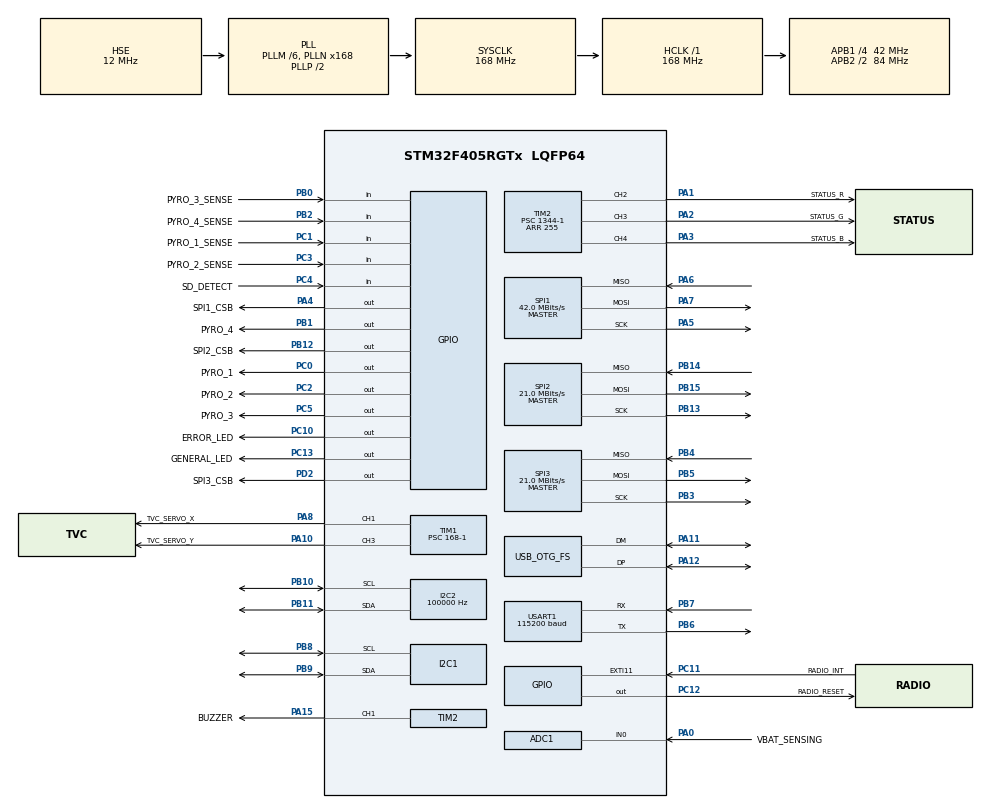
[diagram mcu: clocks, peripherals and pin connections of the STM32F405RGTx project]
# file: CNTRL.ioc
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ADC1.Channel-0\#ChannelRegularConversion=ADC_CHANNEL_0
ADC1.Channel-1\#ChannelRegularConversion=ADC_CHANNEL_VREFINT
ADC1.ContinuousConvMode=ENABLE
ADC1.DMAContinuousRequests=ENABLE
ADC1.NbrOfConversion=2
ADC1.NbrOfConversionFlag=1
ADC1.Rank-0\#ChannelRegularConversion=1
ADC1.Rank-1\#ChannelRegularConversion=2
ADC1.SamplingTime-0\#ChannelRegularConversion=ADC_SAMPLETIME_480CYCLES
ADC1.SamplingTime-1\#ChannelRegularConversion=ADC_SAMPLETIME_480CYCLES
ADC1.master=1
Dma.ADC1.1.Direction=DMA_PERIPH_TO_MEMORY
Dma.ADC1.1.FIFOMode=DMA_FIFOMODE_DISABLE
Dma.ADC1.1.Instance=DMA2_Stream0
Dma.ADC1.1.MemDataAlignment=DMA_MDATAALIGN_HALFWORD
Dma.ADC1.1.MemInc=DMA_MINC_ENABLE
Dma.ADC1.1.Mode=DMA_CIRCULAR
Dma.ADC1.1.PeriphDataAlignment=DMA_PDATAALIGN_HALFWORD
Dma.ADC1.1.PeriphInc=DMA_PINC_DISABLE
Dma.ADC1.1.Priority=DMA_PRIORITY_LOW
Dma.Request0=USART1_RX
Dma.Request1=ADC1
Dma.USART1_RX.0.Direction=DMA_PERIPH_TO_MEMORY
Dma.USART1_RX.0.FIFOMode=DMA_FIFOMODE_DISABLE
Dma.USART1_RX.0.Instance=DMA2_Stream2
Dma.USART1_RX.0.MemDataAlignment=DMA_MDATAALIGN_BYTE
Dma.USART1_RX.0.MemInc=DMA_MINC_ENABLE
Dma.USART1_RX.0.Mode=DMA_CIRCULAR
Dma.USART1_RX.0.PeriphDataAlignment=DMA_PDATAALIGN_BYTE
Dma.USART1_RX.0.PeriphInc=DMA_PINC_DISABLE
Dma.USART1_RX.0.Priority=DMA_PRIORITY_HIGH
FATFS._MAX_SS=4096
FATFS._USE_LFN=1
I2C1.OwnAddress=0x20
I2C2.ClockSpeed=100000
I2C2.OwnAddress=0x28
Mcu.Family=STM32F4
Mcu.Name=STM32F405RGTx
Mcu.Package=LQFP64
NVIC.DMA2_Stream0_IRQn=true\:0\:0\:false\:false\:true\:false\:true\:true
NVIC.DMA2_Stream2_IRQn=true\:0\:0\:false\:false\:true\:false\:true\:true
NVIC.I2C1_EV_IRQn=true\:0\:0\:false\:false\:true\:true\:true\:true
NVIC.I2C2_ER_IRQn=true\:0\:0\:false\:false\:true\:true\:true\:true
NVIC.I2C2_EV_IRQn=true\:0\:0\:false\:false\:true\:true\:true\:true
NVIC.OTG_FS_IRQn=true\:0\:0\:false\:false\:true\:false\:true\:true
NVIC.PriorityGroup=NVIC_PRIORITYGROUP_4
NVIC.TIM6_DAC_IRQn=true\:0\:0\:false\:false\:true\:true\:true\:true
NVIC.TIM7_IRQn=true\:0\:0\:false\:false\:true\:true\:true\:true
NVIC.USART1_IRQn=true\:0\:0\:false\:false\:true\:true\:true\:true
PA0-WKUP.GPIO_Label=VBAT_SENSING
PA0-WKUP.Signal=ADCx_IN0
PA1.GPIO_Label=STATUS_R
PA1.Signal=S_TIM2_CH2
PA10.GPIO_Label=TVC_SERVO_Y
PA10.Signal=S_TIM1_CH3
PA11.Mode=Device_Only
PA11.Signal=USB_OTG_FS_DM
PA12.Mode=Device_Only
PA12.Signal=USB_OTG_FS_DP
PA13.Mode=Serial_Wire
PA13.Signal=SYS_JTMS-SWDIO
PA14.Mode=Serial_Wire
PA14.Signal=SYS_JTCK-SWCLK
PA15.GPIO_Label=BUZZER
PA15.Signal=S_TIM2_CH1_ETR
PA2.GPIO_Label=STATUS_G
PA2.Signal=S_TIM2_CH3
PA3.GPIO_Label=STATUS_B
PA3.Signal=S_TIM2_CH4
PA4.GPIO_Label=SPI1_CSB
PA4.GPIO_ModeDefaultOutputPP=GPIO_MODE_OUTPUT_OD
PA4.GPIO_PuPd=GPIO_NOPULL
PA4.Signal=GPIO_Output
PA5.Mode=Full_Duplex_Master
PA5.Signal=SPI1_SCK
PA6.Mode=Full_Duplex_Master
PA6.Signal=SPI1_MISO
PA7.Mode=Full_Duplex_Master
PA7.Signal=SPI1_MOSI
PA8.GPIO_Label=TVC_SERVO_X
PA8.Signal=S_TIM1_CH1
PB0.GPIO_Label=PYRO_3_SENSE
PB0.Signal=GPIO_Input
PB1.GPIO_Label=PYRO_4
PB1.Signal=GPIO_Output
PB10.Mode=I2C
PB10.Signal=I2C2_SCL
PB11.Mode=I2C
PB11.Signal=I2C2_SDA
PB12.GPIO_Label=SPI2_CSB
PB12.GPIO_ModeDefaultOutputPP=GPIO_MODE_OUTPUT_PP
PB12.GPIO_PuPd=GPIO_NOPULL
PB12.Signal=GPIO_Output
PB13.Mode=Full_Duplex_Master
PB13.Signal=SPI2_SCK
PB14.Mode=Full_Duplex_Master
PB14.Signal=SPI2_MISO
PB15.Mode=Full_Duplex_Master
PB15.Signal=SPI2_MOSI
PB2.GPIO_Label=PYRO_4_SENSE
PB2.Signal=GPIO_Input
PB3.Mode=Full_Duplex_Master
PB3.Signal=SPI3_SCK
PB4.Mode=Full_Duplex_Master
PB4.Signal=SPI3_MISO
PB5.Mode=Full_Duplex_Master
PB5.Signal=SPI3_MOSI
PB6.Mode=Asynchronous
PB6.Signal=USART1_TX
PB7.Mode=Asynchronous
PB7.Signal=USART1_RX
PB8.Mode=I2C
PB8.Signal=I2C1_SCL
PB9.Mode=I2C
PB9.Signal=I2C1_SDA
PC0.GPIO_Label=PYRO_1
PC0.Signal=GPIO_Output
PC1.GPIO_Label=PYRO_1_SENSE
PC1.Signal=GPIO_Input
PC10.GPIO_Label=ERROR_LED
PC10.Signal=GPIO_Output
PC11.GPIO_Label=RADIO_INT
PC11.Signal=GPXTI11
PC12.GPIO_Label=RADIO_RESET
PC12.Signal=GPIO_Output
PC13-ANTI_TAMP.GPIO_Label=GENERAL_LED
PC13-ANTI_TAMP.Signal=GPIO_Output
PC14-OSC32_IN.Mode=LSE-External-Oscillator
PC14-OSC32_IN.Signal=RCC_OSC32_IN
PC15-OSC32_OUT.Mode=LSE-External-Oscillator
PC15-OSC32_OUT.Signal=RCC_OSC32_OUT
PC2.GPIO_Label=PYRO_2
PC2.Signal=GPIO_Output
PC3.GPIO_Label=PYRO_2_SENSE
PC3.Signal=GPIO_Input
PC4.GPIO_Label=SD_DETECT
PC4.Signal=GPIO_Input
PC5.GPIO_Label=PYRO_3
PC5.Signal=GPIO_Output
PD2.GPIO_Label=SPI3_CSB
PD2.Signal=GPIO_Output
PH0-OSC_IN.Mode=HSE-External-Oscillator
PH0-OSC_IN.Signal=RCC_OSC_IN
PH1-OSC_OUT.Mode=HSE-External-Oscillator
PH1-OSC_OUT.Signal=RCC_OSC_OUT
ProjectManager.HeapSize=0x200
ProjectManager.StackSize=0x400
ProjectManager.TargetToolchain=STM32CubeIDE
RCC.48MHZClocksFreq_Value=48000000
RCC.AHBFreq_Value=168000000
RCC.APB1CLKDivider=RCC_HCLK_DIV4
RCC.APB1Freq_Value=42000000
RCC.APB1TimFreq_Value=84000000
RCC.APB2CLKDivider=RCC_HCLK_DIV2
RCC.APB2Freq_Value=84000000
RCC.APB2TimFreq_Value=168000000
RCC.CortexFreq_Value=168000000
RCC.HCLKFreq_Value=168000000
RCC.HSE_VALUE=12000000
RCC.HSI_VALUE=16000000
RCC.PLLM=6
RCC.PLLN=168
RCC.PLLQ=7
RCC.SYSCLKFreq_VALUE=168000000
RCC.SYSCLKSource=RCC_SYSCLKSOURCE_PLLCLK
RCC.VCOOutputFreq_Value=336000000
SH.ADCx_IN0.0=ADC1_IN0,IN0
SH.S_TIM1_CH1.0=TIM1_CH1,PWM Generation1 CH1
SH.S_TIM1_CH3.0=TIM1_CH3,PWM Generation3 CH3
SH.S_TIM2_CH1_ETR.0=TIM2_CH1,PWM Generation1 CH1
SH.S_TIM2_CH2.0=TIM2_CH2,PWM Generation2 CH2
SH.S_TIM2_CH3.0=TIM2_CH3,PWM Generation3 CH3
SH.S_TIM2_CH4.0=TIM2_CH4,PWM Generation4 CH4
SPI1.BaudRatePrescaler=SPI_BAUDRATEPRESCALER_2
SPI1.CalculateBaudRate=42.0 MBits/s
SPI1.Direction=SPI_DIRECTION_2LINES
SPI1.Mode=SPI_MODE_MASTER
SPI1.VirtualType=VM_MASTER
SPI2.BaudRatePrescaler=SPI_BAUDRATEPRESCALER_2
SPI2.CalculateBaudRate=21.0 MBits/s
SPI2.Direction=SPI_DIRECTION_2LINES
SPI2.Mode=SPI_MODE_MASTER
SPI2.VirtualType=VM_MASTER
SPI3.CalculateBaudRate=21.0 MBits/s
SPI3.Direction=SPI_DIRECTION_2LINES
SPI3.Mode=SPI_MODE_MASTER
SPI3.VirtualType=VM_MASTER
STMicroelectronics.X-CUBE-MEMS1.11.2.0.SensorsJjSTM32IiMotionACIiLibraryJjCore=true
STMicroelectronics.X-CUBE-MEMS1.11.2.0.SensorsJjSTM32IiMotionGCIiLibraryJjCore=true
STMicroelectronics.X-CUBE-MEMS1.11.2.0.SensorsJjSTM32IiMotionMCIiLibraryJjCore=true
TIM1.Channel-PWM\ Generation1\ CH1=TIM_CHANNEL_1
TIM1.Channel-PWM\ Generation3\ CH3=TIM_CHANNEL_3
TIM1.Period=20000-1
TIM1.Prescaler=168-1
TIM2.AutoReloadPreload=TIM_AUTORELOAD_PRELOAD_ENABLE
TIM2.Channel-PWM\ Generation1\ CH1=TIM_CHANNEL_1
TIM2.Channel-PWM\ Generation2\ CH2=TIM_CHANNEL_2
TIM2.Channel-PWM\ Generation3\ CH3=TIM_CHANNEL_3
TIM2.Channel-PWM\ Generation4\ CH4=TIM_CHANNEL_4
TIM2.Period=255
TIM2.Prescaler=1344-1
TIM6.Period=1000-1
TIM6.Prescaler=84-1
TIM7.Period=50000-1
TIM7.Prescaler=84-1
USART1.BaudRate=115200
USART1.VirtualMode=VM_ASYNC
USB_DEVICE.CLASS_NAME_FS=CDC
USB_DEVICE.VirtualMode-CDC_FS=Cdc
USB_DEVICE.VirtualModeFS=Cdc_FS
USB_OTG_FS.VirtualMode=Device_Only
VP_ADC1_Vref_Input.Mode=IN-Vrefint
VP_CRC_VS_CRC.Mode=CRC_Activate
VP_FATFS_VS_Generic.Mode=User_defined
VP_STMicroelectronics.X-CUBE-MEMS1_VS_SensorsJjSTM32IiMotionACIiLibrary_2.6.2_11.2.0.Mode=SensorsJjSTM32IiMotionACIiLibrary
VP_STMicroelectronics.X-CUBE-MEMS1_VS_SensorsJjSTM32IiMotionGCIiLibrary_2.7.0_11.2.0.Mode=SensorsJjSTM32IiMotionGCIiLibrary
VP_STMicroelectronics.X-CUBE-MEMS1_VS_SensorsJjSTM32IiMotionMCIiLibrary_2.8.0_11.2.0.Mode=SensorsJjSTM32IiMotionMCIiLibrary
VP_TIM1_VS_ClockSourceINT.Mode=Internal
VP_TIM2_VS_ClockSourceINT.Mode=Internal
VP_TIM6_VS_ClockSourceINT.Mode=Enable_Timer
VP_TIM7_VS_ClockSourceINT.Mode=Enable_Timer
VP_USB_DEVICE_VS_USB_DEVICE_CDC_FS.Mode=CDC_FS
board=custom

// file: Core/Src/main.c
/* USER CODE BEGIN Header */
/**
  ******************************************************************************
  * @file           : main.c
  * @brief          : Main program body
  ******************************************************************************
  * @attention
  *
  * Copyright (c) 2025 STMicroelectronics.
  * All rights reserved.
  *
  * This software is licensed under terms that can be found in the LICENSE file
  * in the root directory of this software component.
  * If no LICENSE file comes with this software, it is provided AS-IS.
  *
  ******************************************************************************
  */
/* USER CODE END Header */
#include "main.h"
#include "fatfs.h"
#include "usb_device.h"

/* USER CODE BEGIN Includes */
#include "config.h"
#include "util.h"

#include "usbd_cdc_if.h"

#include "Drivers/pwm.h"
#include "Drivers/led.h"
#include "Drivers/servo.h"
#include "Drivers/pyro.h"
#include "Drivers/w25qxx.h"
#include "Drivers/buzzer.h"

#include "uart_dma.h"
#include "logger.h"
#include "calibration.h"
#include "orientation.h"
#include "tvc.h"
#include "control.h"
#include "battery.h"
#include "esp32.h"
#include "flight.h"
/* USER CODE END Includes */

ADC_HandleTypeDef hadc1;
DMA_HandleTypeDef hdma_adc1;

CRC_HandleTypeDef hcrc;

I2C_HandleTypeDef hi2c1;
I2C_HandleTypeDef hi2c2;

SPI_HandleTypeDef hspi1;
SPI_HandleTypeDef hspi2;
SPI_HandleTypeDef hspi3;

TIM_HandleTypeDef htim1;
TIM_HandleTypeDef htim2;
TIM_HandleTypeDef htim6;
TIM_HandleTypeDef htim7;

UART_HandleTypeDef huart1;
DMA_HandleTypeDef hdma_usart1_rx;

/* USER CODE BEGIN PV */
/* STATUS LED */
rgb_led status_led = {
	.r_pwm = {
		.htim = &htim2,
		.channel = TIM_CHANNEL_2,
		.resolution = 255
	},
	.g_pwm = {
		.htim = &htim2,
		.channel = TIM_CHANNEL_3,
		.resolution = 255
	},
	.b_pwm = {
		.htim = &htim2,
		.channel = TIM_CHANNEL_4,
		.resolution = 255
	}
};

/* TVC */
tvc_mount tvc = {
	.x = {
		.config = {
			.MAX_ANGLE = 90.0f,
			.INIT_ANGLE = SERVO_DEFAULT_INIT_ANGLE,
			.MIN_PW = SERVO_DEFAULT_MIN_PW,
			.MAX_PW = SERVO_DEFAULT_MAX_PW,
			.PERIOD = SERVO_DEFAULT_PERIOD,
			.DIRECTION = SERVO_POSITIVE
		},
		.pwm = {
			.htim = &htim1,
			.channel = TIM_CHANNEL_1,
			.resolution = SERVO_GET_PWM_RESOLUTION(1000000, SERVO_DEFAULT_PERIOD)
		}
	},
	.y = {
		.config = {
			.MAX_ANGLE = 90.0f,
			.INIT_ANGLE = SERVO_DEFAULT_INIT_ANGLE,
			.MIN_PW = SERVO_DEFAULT_MIN_PW,
			.MAX_PW = SERVO_DEFAULT_MAX_PW,
			.PERIOD = SERVO_DEFAULT_PERIOD,
			.DIRECTION = SERVO_POSITIVE
		},
		.pwm = {
			.htim = &htim1,
			.channel = TIM_CHANNEL_3,
			.resolution = SERVO_GET_PWM_RESOLUTION(1000000, SERVO_DEFAULT_PERIOD)
		}
	},
	.pid_x = {
		.Kp = 0.5f,
		.Ki = 0.0f,
		.Kd = 0.005f,
		.Ka = 0.85f,
		.OUT_MAX = 5.0f,
		.OUT_MIN = -5.0f,
	},
	.pid_y = {
		.Kp = 0.5f,
		.Ki = 0.0f,
		.Kd = 0.005f,
		.Ka = 0.85f,
		.OUT_MAX = 5.0f,
		.OUT_MIN = -5.0f,
	}
};

/* PYROS */
pyro parachute = {
	.pyro_port = PYRO_4_GPIO_Port,
	.pyro_pin = PYRO_4_Pin,
	.cont_port = PYRO_4_SENSE_GPIO_Port,
	.cont_pin = PYRO_4_SENSE_Pin,
	.fire_duration = 1000
};

buzzer bzr = {
	.pwm = {
		.htim = &htim2,
		.channel = TIM_CHANNEL_1,
		.resolution = 255
	}
};

/* LOGGER */
rocket_data r_data = {0};
float vbat;

uint32_t last_log_ms = 0;

/* QUATERNION USB CDC */
//uint8_t quat_buffer[4 * sizeof(float)];
//
//uint32_t last_send_time = 0;  // ms
//const uint32_t send_interval = 50; // ms

/* CONTROL */
sensor_data data = {0};
float orientation_quat[4] = {0};

float roll;
float pitch;
float yaw;

/* STATE */
flight_FSM flight = {0};

/* CALIBRATION */
#ifdef CALIBRATE
extern uint8_t acc_calibrated;
extern int gyr_calibrated;
#endif

#ifdef CALIBRATE_ACC
extern MAC_output_t acc_cal;
MAC_output_t calib_acc;
#endif

#ifdef CALIBRATE_GYR
extern MGC_output_t gyr_cal;
MGC_output_t calib_gyr;
#endif

#ifdef CALIBRATE_MAG
extern MMC_Output_t mag_cal;
MMC_Output_t calib_mag;
#endif

/* USER CODE END PV */

void SystemClock_Config(void);
static void MX_GPIO_Init(void);
static void MX_DMA_Init(void);
static void MX_TIM2_Init(void);
static void MX_I2C1_Init(void);
static void MX_SPI2_Init(void);
static void MX_USART1_UART_Init(void);
static void MX_CRC_Init(void);
static void MX_TIM1_Init(void);
static void MX_ADC1_Init(void);
static void MX_I2C2_Init(void);
static void MX_SPI1_Init(void);
static void MX_TIM7_Init(void);
static void MX_TIM6_Init(void);
static void MX_SPI3_Init(void);

/* USER CODE BEGIN 0 */
void HAL_TIM_PeriodElapsedCallback(TIM_HandleTypeDef *htim) {
	if (htim->Instance == TIM7) {
#ifdef CALIBRATE_ACC
		run_acc_calibration();
    	calib_acc = acc_cal;
#endif
#ifdef CALIBRATE_GYR
		run_gyr_calibration();
    	calib_gyr = gyr_cal;
#endif
#ifdef CALIBRATE_MAG
		run_mag_calibration();
    	calib_mag = mag_cal;
#endif
    }
#ifndef CALIBRATE
	if (htim->Instance == TIM6) {
		calculate_orientation(orientation_quat, flight.vars.quat0, &roll, &pitch, &yaw);
	}
#endif
}

void process_esp32_instruction(esp32_instruction* instruction) {
	if (instruction->type == ESP32_ARM) {
		HAL_GPIO_TogglePin(GENERAL_LED_GPIO_Port, GENERAL_LED_Pin);
		flight.inputs.arm_request = 1;
	} else if (instruction->type == ESP32_TVC_SERVO_X_POS) {
		if (instruction->payload_size == sizeof(float)) {
			float x_angle;
			memcpy(&x_angle, instruction->payload, sizeof(float));

			tvc_set_angle(&tvc, x_angle, TVC_SERVO_X);
		}
	} else if (instruction->type == ESP32_TVC_SERVO_Y_POS) {
		if (instruction->payload_size == sizeof(float)) {
			float y_angle;
			memcpy(&y_angle, instruction->payload, sizeof(float));

			tvc_set_angle(&tvc, y_angle, TVC_SERVO_Y);
		}
	} else if (instruction->type == ESP32_TVC_DEFLECTION_POS) {
		if (instruction->payload_size == 2 * sizeof(float)) {
			float x_angle;
			float y_angle;

			memcpy(&x_angle, instruction->payload, sizeof(float));
			memcpy(&y_angle, instruction->payload + sizeof(float), sizeof(float));

			tvc_set_angles_f(&tvc, x_angle, y_angle);
		}
	}
}

void fill_rocket_data() {
	r_data.T_plus = HAL_GetTick() / 1000.0f;

	r_data.flags.calibrated = flight.flags.calibrated;
	r_data.flags.armed = flight.flags.armed;
	r_data.flags.ignition = flight.flags.ignition;
	r_data.flags.apogee = flight.flags.apogee;
	r_data.flags.touchdown = flight.flags.touchdown;

	r_data.state = flight.state;

	r_data.vbat = vbat;

	r_data.acc.x = data.ax;
	r_data.acc.y = data.ay;
	r_data.acc.z = data.az;

	r_data.gyr.x = data.gx;
	r_data.gyr.y = data.gy;
	r_data.gyr.z = data.gz;

	r_data.mag.x = data.mx;
	r_data.mag.y = data.my;
	r_data.mag.z = data.mz;

	r_data.quat.w = orientation_quat[0];
	r_data.quat.x = orientation_quat[1];
	r_data.quat.y = orientation_quat[2];
	r_data.quat.z = orientation_quat[3];

	r_data.temperature = data.temperature;
	r_data.pressure = data.pressure;
	r_data.altitude = flight.vars.alt;
	r_data.v_velocity = flight.vars.v_vel;
	r_data.v_accel = flight.vars.v_accel;

	r_data.tvc.x = tvc.ax;
	r_data.tvc.y = tvc.ay;

	r_data.pyro.motor = PYRO_BROKEN;
	r_data.pyro.parachute = parachute.state;
}
/* USER CODE END 0 */

int main(void)
{

  /* MCU Configuration--------------------------------------------------------*/

  /* Reset of all peripherals, Initializes the Flash interface and the Systick. */
  HAL_Init();

  /* Configure the system clock */
  SystemClock_Config();

  /* Initialize all configured peripherals */
  MX_GPIO_Init();
  MX_DMA_Init();
  MX_FATFS_Init();
  MX_TIM2_Init();
  MX_I2C1_Init();
  MX_SPI2_Init();
  MX_USART1_UART_Init();
  MX_CRC_Init();
  MX_TIM1_Init();
  MX_ADC1_Init();
  MX_I2C2_Init();
  MX_SPI1_Init();
  MX_TIM7_Init();
  MX_USB_DEVICE_Init();
  MX_TIM6_Init();
  MX_SPI3_Init();
  /* USER CODE BEGIN 2 */
  config_load_settings();

  rgb_led_start(&status_led);
  buzzer_init(&bzr);
  battery_adc_start();

  tvc_init(&tvc);

#ifndef CALIBRATE
  pyro_init(&parachute);

  rgb_led_set_color(&status_led, COLOR_PURPLE);

  if (CONFIG_DO_LOGGING) {
	  logger_flash_init();
  }
#endif

  initialize_uart_dma();
  initialize_esp32();

#ifndef CALIBRATE
  HAL_TIM_Base_Start_IT(&htim6);
  initialize_orientation();
#endif

#ifdef CALIBRATE
  HAL_TIM_Base_Start_IT(&htim7);

  initialize_acc_calibration();
  initialize_gyr_calibration();
  initialize_mag_calibration();
#endif

#ifndef CALIBRATE
  tvc_start(&tvc);
  flight_initialize(&flight);
  rgb_led_set_color(&status_led, COLOR_GREEN);
#endif
  /* USER CODE END 2 */

  /* Infinite loop */
  /* USER CODE BEGIN WHILE */
  while (!flight.signals.signal_ready)
  {
    /* USER CODE END WHILE */

    /* USER CODE BEGIN 3 */
	  battery_update_voltage(&vbat);

#ifndef CALIBRATE
	  pyro_update(&parachute);
#endif

	  if (uart_dma_is_data_ready()) {
		  uart_dma_reset_data_ready();

		  // process packet
		  sensor_packet* latest_packet = uart_dma_get_latest_packet();
		  process_raw_sensor_data(&latest_packet->data, &data);

#ifndef CALIBRATE
		  // log new data
		  fill_rocket_data();
		  uint32_t dt = HAL_GetTick() - last_log_ms;
		  if (flight.flags.armed && dt >= CONFIG_LOGGING_INTERVAL && CONFIG_DO_LOGGING) {
			  logger_flash_log_data(&r_data);
			  last_log_ms = HAL_GetTick();
		  }
#endif
	  }
#ifndef CALIBRATE
	  // update TVC
	  if (flight.flags.calibrated) {
		   tvc_update(&tvc, 0.0f, 0.0f, pitch, yaw);
		  rgb_led_set_color(&status_led, COLOR_BLUE);
	  }

	  // calibrate pressure
	  flight_calibrate();
	  flight_set_calibrations(&flight);

	  // update FSM
	  flight_update_vars(&flight);
	  flight_update_state(&flight);

	  // process FSM signals
	  if (flight.signals.deploy_chute) {
		  flight.signals.deploy_chute = 0;
		  pyro_fire(&parachute);
	  }

	  if (flight.signals.log_data) {
		  flight.signals.log_data = 0;

		  buzzer_set_volume(&bzr, 0.9f);

		  if (CONFIG_DO_LOGGING) {

			  HAL_UART_Abort(&huart1);
#ifndef CALIBRATE
			  HAL_TIM_Base_Stop(&htim1);
			  HAL_TIM_Base_Stop(&htim6);
#else
			  HAL_TIM_Base_Stop(&htim7);
#endif
			  logger_copy_flash_to_sd();
		  }

		  flight.inputs.logging_done = 1;
	  }
#endif
  }

  // flight end loop
  while (1) {
	  rgb_led_set_color(&status_led, COLOR_PURPLE);
	  HAL_Delay(500);
	  rgb_led_set_color(&status_led, COLOR_OFF);
	  HAL_Delay(500);
  }
  /* USER CODE END 3 */
}

void SystemClock_Config(void)
{
  RCC_OscInitTypeDef RCC_OscInitStruct = {0};
  RCC_ClkInitTypeDef RCC_ClkInitStruct = {0};

  /** Configure the main internal regulator output voltage
  */
  __HAL_RCC_PWR_CLK_ENABLE();
  __HAL_PWR_VOLTAGESCALING_CONFIG(PWR_REGULATOR_VOLTAGE_SCALE1);

  /** Initializes the RCC Oscillators according to the specified parameters
  * in the RCC_OscInitTypeDef structure.
  */
  RCC_OscInitStruct.OscillatorType = RCC_OSCILLATORTYPE_HSE;
  RCC_OscInitStruct.HSEState = RCC_HSE_ON;
  RCC_OscInitStruct.PLL.PLLState = RCC_PLL_ON;
  RCC_OscInitStruct.PLL.PLLSource = RCC_PLLSOURCE_HSE;
  RCC_OscInitStruct.PLL.PLLM = 6;
  RCC_OscInitStruct.PLL.PLLN = 168;
  RCC_OscInitStruct.PLL.PLLP = RCC_PLLP_DIV2;
  RCC_OscInitStruct.PLL.PLLQ = 7;
  if (HAL_RCC_OscConfig(&RCC_OscInitStruct) != HAL_OK)
  {
    Error_Handler();
  }

  /** Initializes the CPU, AHB and APB buses clocks
  */
  RCC_ClkInitStruct.ClockType = RCC_CLOCKTYPE_HCLK|RCC_CLOCKTYPE_SYSCLK
                              |RCC_CLOCKTYPE_PCLK1|RCC_CLOCKTYPE_PCLK2;
  RCC_ClkInitStruct.SYSCLKSource = RCC_SYSCLKSOURCE_PLLCLK;
  RCC_ClkInitStruct.AHBCLKDivider = RCC_SYSCLK_DIV1;
  RCC_ClkInitStruct.APB1CLKDivider = RCC_HCLK_DIV4;
  RCC_ClkInitStruct.APB2CLKDivider = RCC_HCLK_DIV2;

  if (HAL_RCC_ClockConfig(&RCC_ClkInitStruct, FLASH_LATENCY_5) != HAL_OK)
  {
    Error_Handler();
  }
}

static void MX_ADC1_Init(void)
{

  ADC_ChannelConfTypeDef sConfig = {0};

  /** Configure the global features of the ADC (Clock, Resolution, Data Alignment and number of conversion)
  */
  hadc1.Instance = ADC1;
  hadc1.Init.ClockPrescaler = ADC_CLOCK_SYNC_PCLK_DIV4;
  hadc1.Init.Resolution = ADC_RESOLUTION_12B;
  hadc1.Init.ScanConvMode = ENABLE;
  hadc1.Init.ContinuousConvMode = ENABLE;
  hadc1.Init.DiscontinuousConvMode = DISABLE;
  hadc1.Init.ExternalTrigConvEdge = ADC_EXTERNALTRIGCONVEDGE_NONE;
  hadc1.Init.ExternalTrigConv = ADC_SOFTWARE_START;
  hadc1.Init.DataAlign = ADC_DATAALIGN_RIGHT;
  hadc1.Init.NbrOfConversion = 2;
  hadc1.Init.DMAContinuousRequests = ENABLE;
  hadc1.Init.EOCSelection = ADC_EOC_SINGLE_CONV;
  if (HAL_ADC_Init(&hadc1) != HAL_OK)
  {
    Error_Handler();
  }

  /** Configure for the selected ADC regular channel its corresponding rank in the sequencer and its sample time.
  */
  sConfig.Channel = ADC_CHANNEL_0;
  sConfig.Rank = 1;
  sConfig.SamplingTime = ADC_SAMPLETIME_480CYCLES;
  if (HAL_ADC_ConfigChannel(&hadc1, &sConfig) != HAL_OK)
  {
    Error_Handler();
  }

  /** Configure for the selected ADC regular channel its corresponding rank in the sequencer and its sample time.
  */
  sConfig.Channel = ADC_CHANNEL_VREFINT;
  sConfig.Rank = 2;
  if (HAL_ADC_ConfigChannel(&hadc1, &sConfig) != HAL_OK)
  {
    Error_Handler();
  }

}

static void MX_CRC_Init(void)
{

  hcrc.Instance = CRC;
  if (HAL_CRC_Init(&hcrc) != HAL_OK)
  {
    Error_Handler();
  }

}

static void MX_I2C1_Init(void)
{

  hi2c1.Instance = I2C1;
  hi2c1.Init.ClockSpeed = 100000;
  hi2c1.Init.DutyCycle = I2C_DUTYCYCLE_2;
  hi2c1.Init.OwnAddress1 = 64;
  hi2c1.Init.AddressingMode = I2C_ADDRESSINGMODE_7BIT;
  hi2c1.Init.DualAddressMode = I2C_DUALADDRESS_DISABLE;
  hi2c1.Init.OwnAddress2 = 0;
  hi2c1.Init.GeneralCallMode = I2C_GENERALCALL_DISABLE;
  hi2c1.Init.NoStretchMode = I2C_NOSTRETCH_DISABLE;
  if (HAL_I2C_Init(&hi2c1) != HAL_OK)
  {
    Error_Handler();
  }

}

static void MX_I2C2_Init(void)
{

  hi2c2.Instance = I2C2;
  hi2c2.Init.ClockSpeed = 100000;
  hi2c2.Init.DutyCycle = I2C_DUTYCYCLE_2;
  hi2c2.Init.OwnAddress1 = 80;
  hi2c2.Init.AddressingMode = I2C_ADDRESSINGMODE_7BIT;
  hi2c2.Init.DualAddressMode = I2C_DUALADDRESS_DISABLE;
  hi2c2.Init.OwnAddress2 = 0;
  hi2c2.Init.GeneralCallMode = I2C_GENERALCALL_DISABLE;
  hi2c2.Init.NoStretchMode = I2C_NOSTRETCH_DISABLE;
  if (HAL_I2C_Init(&hi2c2) != HAL_OK)
  {
    Error_Handler();
  }

}

static void MX_SPI1_Init(void)
{

  /* SPI1 parameter configuration*/
  hspi1.Instance = SPI1;
  hspi1.Init.Mode = SPI_MODE_MASTER;
  hspi1.Init.Direction = SPI_DIRECTION_2LINES;
  hspi1.Init.DataSize = SPI_DATASIZE_8BIT;
  hspi1.Init.CLKPolarity = SPI_POLARITY_LOW;
  hspi1.Init.CLKPhase = SPI_PHASE_1EDGE;
  hspi1.Init.NSS = SPI_NSS_SOFT;
  hspi1.Init.BaudRatePrescaler = SPI_BAUDRATEPRESCALER_2;
  hspi1.Init.FirstBit = SPI_FIRSTBIT_MSB;
  hspi1.Init.TIMode = SPI_TIMODE_DISABLE;
  hspi1.Init.CRCCalculation = SPI_CRCCALCULATION_DISABLE;
  hspi1.Init.CRCPolynomial = 10;
  if (HAL_SPI_Init(&hspi1) != HAL_OK)
  {
    Error_Handler();
  }

}

static void MX_SPI2_Init(void)
{

  /* SPI2 parameter configuration*/
  hspi2.Instance = SPI2;
  hspi2.Init.Mode = SPI_MODE_MASTER;
  hspi2.Init.Direction = SPI_DIRECTION_2LINES;
  hspi2.Init.DataSize = SPI_DATASIZE_8BIT;
  hspi2.Init.CLKPolarity = SPI_POLARITY_LOW;
  hspi2.Init.CLKPhase = SPI_PHASE_1EDGE;
  hspi2.Init.NSS = SPI_NSS_SOFT;
  hspi2.Init.BaudRatePrescaler = SPI_BAUDRATEPRESCALER_2;
  hspi2.Init.FirstBit = SPI_FIRSTBIT_MSB;
  hspi2.Init.TIMode = SPI_TIMODE_DISABLE;
  hspi2.Init.CRCCalculation = SPI_CRCCALCULATION_DISABLE;
  hspi2.Init.CRCPolynomial = 10;
  if (HAL_SPI_Init(&hspi2) != HAL_OK)
  {
    Error_Handler();
  }

}

static void MX_SPI3_Init(void)
{

  /* SPI3 parameter configuration*/
  hspi3.Instance = SPI3;
  hspi3.Init.Mode = SPI_MODE_MASTER;
  hspi3.Init.Direction = SPI_DIRECTION_2LINES;
  hspi3.Init.DataSize = SPI_DATASIZE_8BIT;
  hspi3.Init.CLKPolarity = SPI_POLARITY_LOW;
  hspi3.Init.CLKPhase = SPI_PHASE_1EDGE;
  hspi3.Init.NSS = SPI_NSS_SOFT;
  hspi3.Init.BaudRatePrescaler = SPI_BAUDRATEPRESCALER_2;
  hspi3.Init.FirstBit = SPI_FIRSTBIT_MSB;
  hspi3.Init.TIMode = SPI_TIMODE_DISABLE;
  hspi3.Init.CRCCalculation = SPI_CRCCALCULATION_DISABLE;
  hspi3.Init.CRCPolynomial = 10;
  if (HAL_SPI_Init(&hspi3) != HAL_OK)
  {
    Error_Handler();
  }

}

static void MX_TIM1_Init(void)
{

  TIM_ClockConfigTypeDef sClockSourceConfig = {0};
  TIM_MasterConfigTypeDef sMasterConfig = {0};
  TIM_OC_InitTypeDef sConfigOC = {0};
  TIM_BreakDeadTimeConfigTypeDef sBreakDeadTimeConfig = {0};

  htim1.Instance = TIM1;
  htim1.Init.Prescaler = 168-1;
  htim1.Init.CounterMode = TIM_COUNTERMODE_UP;
  htim1.Init.Period = 20000-1;
  htim1.Init.ClockDivision = TIM_CLOCKDIVISION_DIV1;
  htim1.Init.RepetitionCounter = 0;
  htim1.Init.AutoReloadPreload = TIM_AUTORELOAD_PRELOAD_DISABLE;
  if (HAL_TIM_Base_Init(&htim1) != HAL_OK)
  {
    Error_Handler();
  }
  sClockSourceConfig.ClockSource = TIM_CLOCKSOURCE_INTERNAL;
  if (HAL_TIM_ConfigClockSource(&htim1, &sClockSourceConfig) != HAL_OK)
  {
    Error_Handler();
  }
  if (HAL_TIM_PWM_Init(&htim1) != HAL_OK)
  {
    Error_Handler();
  }
  sMasterConfig.MasterOutputTrigger = TIM_TRGO_RESET;
  sMasterConfig.MasterSlaveMode = TIM_MASTERSLAVEMODE_DISABLE;
  if (HAL_TIMEx_MasterConfigSynchronization(&htim1, &sMasterConfig) != HAL_OK)
  {
    Error_Handler();
  }
  sConfigOC.OCMode = TIM_OCMODE_PWM1;
  sConfigOC.Pulse = 0;
  sConfigOC.OCPolarity = TIM_OCPOLARITY_HIGH;
  sConfigOC.OCNPolarity = TIM_OCNPOLARITY_HIGH;
  sConfigOC.OCFastMode = TIM_OCFAST_DISABLE;
  sConfigOC.OCIdleState = TIM_OCIDLESTATE_RESET;
  sConfigOC.OCNIdleState = TIM_OCNIDLESTATE_RESET;
  if (HAL_TIM_PWM_ConfigChannel(&htim1, &sConfigOC, TIM_CHANNEL_1) != HAL_OK)
  {
    Error_Handler();
  }
  if (HAL_TIM_PWM_ConfigChannel(&htim1, &sConfigOC, TIM_CHANNEL_3) != HAL_OK)
  {
    Error_Handler();
  }
  sBreakDeadTimeConfig.OffStateRunMode = TIM_OSSR_DISABLE;
  sBreakDeadTimeConfig.OffStateIDLEMode = TIM_OSSI_DISABLE;
  sBreakDeadTimeConfig.LockLevel = TIM_LOCKLEVEL_OFF;
  sBreakDeadTimeConfig.DeadTime = 0;
  sBreakDeadTimeConfig.BreakState = TIM_BREAK_DISABLE;
  sBreakDeadTimeConfig.BreakPolarity = TIM_BREAKPOLARITY_HIGH;
  sBreakDeadTimeConfig.AutomaticOutput = TIM_AUTOMATICOUTPUT_DISABLE;
  if (HAL_TIMEx_ConfigBreakDeadTime(&htim1, &sBreakDeadTimeConfig) != HAL_OK)
  {
    Error_Handler();
  }
  HAL_TIM_MspPostInit(&htim1);

}

static void MX_TIM2_Init(void)
{

  TIM_ClockConfigTypeDef sClockSourceConfig = {0};
  TIM_MasterConfigTypeDef sMasterConfig = {0};
  TIM_OC_InitTypeDef sConfigOC = {0};

  htim2.Instance = TIM2;
  htim2.Init.Prescaler = 1344-1;
  htim2.Init.CounterMode = TIM_COUNTERMODE_UP;
  htim2.Init.Period = 255;
  htim2.Init.ClockDivision = TIM_CLOCKDIVISION_DIV1;
  htim2.Init.AutoReloadPreload = TIM_AUTORELOAD_PRELOAD_ENABLE;
  if (HAL_TIM_Base_Init(&htim2) != HAL_OK)
  {
    Error_Handler();
  }
  sClockSourceConfig.ClockSource = TIM_CLOCKSOURCE_INTERNAL;
  if (HAL_TIM_ConfigClockSource(&htim2, &sClockSourceConfig) != HAL_OK)
  {
    Error_Handler();
  }
  if (HAL_TIM_PWM_Init(&htim2) != HAL_OK)
  {
    Error_Handler();
  }
  sMasterConfig.MasterOutputTrigger = TIM_TRGO_RESET;
  sMasterConfig.MasterSlaveMode = TIM_MASTERSLAVEMODE_DISABLE;
  if (HAL_TIMEx_MasterConfigSynchronization(&htim2, &sMasterConfig) != HAL_OK)
  {
    Error_Handler();
  }
  sConfigOC.OCMode = TIM_OCMODE_PWM1;
  sConfigOC.Pulse = 0;
  sConfigOC.OCPolarity = TIM_OCPOLARITY_HIGH;
  sConfigOC.OCFastMode = TIM_OCFAST_DISABLE;
  if (HAL_TIM_PWM_ConfigChannel(&htim2, &sConfigOC, TIM_CHANNEL_1) != HAL_OK)
  {
    Error_Handler();
  }
  if (HAL_TIM_PWM_ConfigChannel(&htim2, &sConfigOC, TIM_CHANNEL_2) != HAL_OK)
  {
    Error_Handler();
  }
  if (HAL_TIM_PWM_ConfigChannel(&htim2, &sConfigOC, TIM_CHANNEL_3) != HAL_OK)
  {
    Error_Handler();
  }
  if (HAL_TIM_PWM_ConfigChannel(&htim2, &sConfigOC, TIM_CHANNEL_4) != HAL_OK)
  {
    Error_Handler();
  }
  HAL_TIM_MspPostInit(&htim2);

}

static void MX_TIM6_Init(void)
{

  TIM_MasterConfigTypeDef sMasterConfig = {0};

  htim6.Instance = TIM6;
  htim6.Init.Prescaler = 84-1;
  htim6.Init.CounterMode = TIM_COUNTERMODE_UP;
  htim6.Init.Period = 1000-1;
  htim6.Init.AutoReloadPreload = TIM_AUTORELOAD_PRELOAD_DISABLE;
  if (HAL_TIM_Base_Init(&htim6) != HAL_OK)
  {
    Error_Handler();
  }
  sMasterConfig.MasterOutputTrigger = TIM_TRGO_RESET;
  sMasterConfig.MasterSlaveMode = TIM_MASTERSLAVEMODE_DISABLE;
  if (HAL_TIMEx_MasterConfigSynchronization(&htim6, &sMasterConfig) != HAL_OK)
  {
    Error_Handler();
  }

}

static void MX_TIM7_Init(void)
{

  TIM_MasterConfigTypeDef sMasterConfig = {0};

  htim7.Instance = TIM7;
  htim7.Init.Prescaler = 84-1;
  htim7.Init.CounterMode = TIM_COUNTERMODE_UP;
  htim7.Init.Period = 50000-1;
  htim7.Init.AutoReloadPreload = TIM_AUTORELOAD_PRELOAD_DISABLE;
  if (HAL_TIM_Base_Init(&htim7) != HAL_OK)
  {
    Error_Handler();
  }
  sMasterConfig.MasterOutputTrigger = TIM_TRGO_RESET;
  sMasterConfig.MasterSlaveMode = TIM_MASTERSLAVEMODE_DISABLE;
  if (HAL_TIMEx_MasterConfigSynchronization(&htim7, &sMasterConfig) != HAL_OK)
  {
    Error_Handler();
  }

}

static void MX_USART1_UART_Init(void)
{

  huart1.Instance = USART1;
  huart1.Init.BaudRate = 115200;
  huart1.Init.WordLength = UART_WORDLENGTH_8B;
  huart1.Init.StopBits = UART_STOPBITS_1;
  huart1.Init.Parity = UART_PARITY_NONE;
  huart1.Init.Mode = UART_MODE_TX_RX;
  huart1.Init.HwFlowCtl = UART_HWCONTROL_NONE;
  huart1.Init.OverSampling = UART_OVERSAMPLING_16;
  if (HAL_UART_Init(&huart1) != HAL_OK)
  {
    Error_Handler();
  }

}

static void MX_DMA_Init(void)
{

  /* DMA controller clock enable */
  __HAL_RCC_DMA2_CLK_ENABLE();

  /* DMA interrupt init */
  /* DMA2_Stream0_IRQn interrupt configuration */
  HAL_NVIC_SetPriority(DMA2_Stream0_IRQn, 0, 0);
  HAL_NVIC_EnableIRQ(DMA2_Stream0_IRQn);
  /* DMA2_Stream2_IRQn interrupt configuration */
  HAL_NVIC_SetPriority(DMA2_Stream2_IRQn, 0, 0);
  HAL_NVIC_EnableIRQ(DMA2_Stream2_IRQn);

}

static void MX_GPIO_Init(void)
{
  GPIO_InitTypeDef GPIO_InitStruct = {0};

  /* GPIO Ports Clock Enable */
  __HAL_RCC_GPIOC_CLK_ENABLE();
  __HAL_RCC_GPIOH_CLK_ENABLE();
  __HAL_RCC_GPIOA_CLK_ENABLE();
  __HAL_RCC_GPIOB_CLK_ENABLE();
  __HAL_RCC_GPIOD_CLK_ENABLE();

  /*Configure GPIO pin Output Level */
  HAL_GPIO_WritePin(GPIOC, GENERAL_LED_Pin|PYRO_1_Pin|PYRO_2_Pin|PYRO_3_Pin
                          |ERROR_LED_Pin|RADIO_RESET_Pin, GPIO_PIN_RESET);

  /*Configure GPIO pin Output Level */
  HAL_GPIO_WritePin(SPI1_CSB_GPIO_Port, SPI1_CSB_Pin, GPIO_PIN_RESET);

  /*Configure GPIO pin Output Level */
  HAL_GPIO_WritePin(GPIOB, PYRO_4_Pin|SPI2_CSB_Pin, GPIO_PIN_RESET);

  /*Configure GPIO pin Output Level */
  HAL_GPIO_WritePin(SPI3_CSB_GPIO_Port, SPI3_CSB_Pin, GPIO_PIN_RESET);

  /*Configure GPIO pins : GENERAL_LED_Pin PYRO_1_Pin PYRO_2_Pin PYRO_3_Pin
                           ERROR_LED_Pin RADIO_RESET_Pin */
  GPIO_InitStruct.Pin = GENERAL_LED_Pin|PYRO_1_Pin|PYRO_2_Pin|PYRO_3_Pin
                          |ERROR_LED_Pin|RADIO_RESET_Pin;
  GPIO_InitStruct.Mode = GPIO_MODE_OUTPUT_PP;
  GPIO_InitStruct.Pull = GPIO_NOPULL;
  GPIO_InitStruct.Speed = GPIO_SPEED_FREQ_LOW;
  HAL_GPIO_Init(GPIOC, &GPIO_InitStruct);

  /*Configure GPIO pins : PYRO_1_SENSE_Pin PYRO_2_SENSE_Pin SD_DETECT_Pin */
  GPIO_InitStruct.Pin = PYRO_1_SENSE_Pin|PYRO_2_SENSE_Pin|SD_DETECT_Pin;
  GPIO_InitStruct.Mode = GPIO_MODE_INPUT;
  GPIO_InitStruct.Pull = GPIO_NOPULL;
  HAL_GPIO_Init(GPIOC, &GPIO_InitStruct);

  /*Configure GPIO pin : SPI1_CSB_Pin */
  GPIO_InitStruct.Pin = SPI1_CSB_Pin;
  GPIO_InitStruct.Mode = GPIO_MODE_OUTPUT_OD;
  GPIO_InitStruct.Pull = GPIO_NOPULL;
  GPIO_InitStruct.Speed = GPIO_SPEED_FREQ_LOW;
  HAL_GPIO_Init(SPI1_CSB_GPIO_Port, &GPIO_InitStruct);

  /*Configure GPIO pins : PYRO_3_SENSE_Pin PYRO_4_SENSE_Pin */
  GPIO_InitStruct.Pin = PYRO_3_SENSE_Pin|PYRO_4_SENSE_Pin;
  GPIO_InitStruct.Mode = GPIO_MODE_INPUT;
  GPIO_InitStruct.Pull = GPIO_NOPULL;
  HAL_GPIO_Init(GPIOB, &GPIO_InitStruct);

  /*Configure GPIO pins : PYRO_4_Pin SPI2_CSB_Pin */
  GPIO_InitStruct.Pin = PYRO_4_Pin|SPI2_CSB_Pin;
  GPIO_InitStruct.Mode = GPIO_MODE_OUTPUT_PP;
  GPIO_InitStruct.Pull = GPIO_NOPULL;
  GPIO_InitStruct.Speed = GPIO_SPEED_FREQ_LOW;
  HAL_GPIO_Init(GPIOB, &GPIO_InitStruct);

  /*Configure GPIO pin : RADIO_INT_Pin */
  GPIO_InitStruct.Pin = RADIO_INT_Pin;
  GPIO_InitStruct.Mode = GPIO_MODE_IT_RISING;
  GPIO_InitStruct.Pull = GPIO_NOPULL;
  HAL_GPIO_Init(RADIO_INT_GPIO_Port, &GPIO_InitStruct);

  /*Configure GPIO pin : SPI3_CSB_Pin */
  GPIO_InitStruct.Pin = SPI3_CSB_Pin;
  GPIO_InitStruct.Mode = GPIO_MODE_OUTPUT_PP;
  GPIO_InitStruct.Pull = GPIO_NOPULL;
  GPIO_InitStruct.Speed = GPIO_SPEED_FREQ_LOW;
  HAL_GPIO_Init(SPI3_CSB_GPIO_Port, &GPIO_InitStruct);

}

void Error_Handler(void)
{
  __disable_irq();
  while (1)
  {
  }
}
